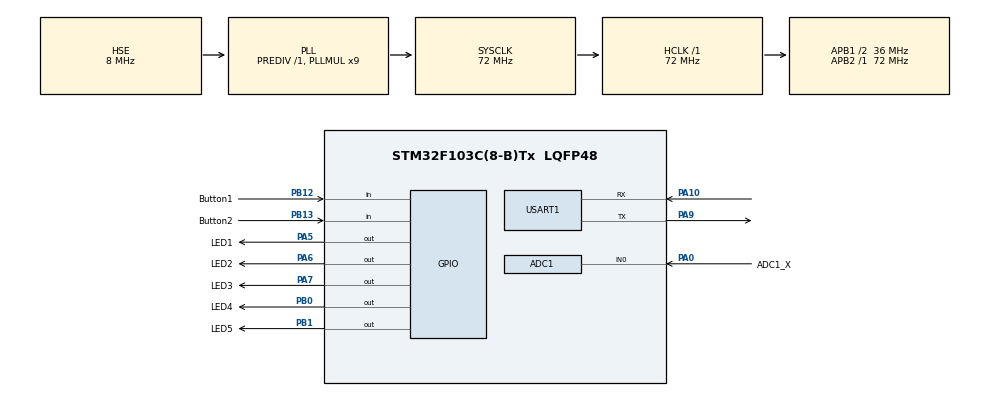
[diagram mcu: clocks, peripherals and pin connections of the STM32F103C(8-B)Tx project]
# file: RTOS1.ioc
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ADC1.Channel-0\#ChannelRegularConversion=ADC_CHANNEL_0
ADC1.NbrOfConversionFlag=1
ADC1.Rank-0\#ChannelRegularConversion=1
ADC1.SamplingTime-0\#ChannelRegularConversion=ADC_SAMPLETIME_1CYCLE_5
ADC1.master=1
FREERTOS.Tasks01=defaultTask,24,128,StartDefaultTask,Default,NULL,Dynamic,NULL,NULL;pickButtonTask,24,128,pickButton,Default,NULL,Dynamic,NULL,NULL;getADCTask,32,128,getADC,Default,NULL,Dynamic,NULL,NULL;dispUARTTask,24,128,dispUART,Default,NULL,Dynamic,NULL,NULL;LEDLevelTask,24,128,LEDLevel,Default,NULL,Dynamic,NULL,NULL
FREERTOS.configTOTAL_HEAP_SIZE=3600
FREERTOS.configUSE_NEWLIB_REENTRANT=1
Mcu.Family=STM32F1
Mcu.Name=STM32F103C(8-B)Tx
Mcu.Package=LQFP48
NVIC.PriorityGroup=NVIC_PRIORITYGROUP_4
NVIC.TIM4_IRQn=true\:15\:0\:false\:false\:true\:false\:false\:true\:true
NVIC.TimeBase=TIM4_IRQn
NVIC.TimeBaseIP=TIM4
PA0-WKUP.GPIO_Label=ADC1_X
PA0-WKUP.Signal=ADCx_IN0
PA10.Mode=Asynchronous
PA10.Signal=USART1_RX
PA13.Mode=Serial_Wire
PA13.Signal=SYS_JTMS-SWDIO
PA14.Mode=Serial_Wire
PA14.Signal=SYS_JTCK-SWCLK
PA5.GPIO_Label=LED1
PA5.PinState=GPIO_PIN_SET
PA5.Signal=GPIO_Output
PA6.GPIO_Label=LED2
PA6.PinState=GPIO_PIN_SET
PA6.Signal=GPIO_Output
PA7.GPIO_Label=LED3
PA7.PinState=GPIO_PIN_SET
PA7.Signal=GPIO_Output
PA9.Mode=Asynchronous
PA9.Signal=USART1_TX
PB0.GPIO_Label=LED4
PB0.PinState=GPIO_PIN_SET
PB0.Signal=GPIO_Output
PB1.GPIO_Label=LED5
PB1.PinState=GPIO_PIN_SET
PB1.Signal=GPIO_Output
PB12.GPIO_Label=Button1
PB12.GPIO_PuPd=GPIO_PULLUP
PB12.Signal=GPIO_Input
PB13.GPIO_Label=Button2
PB13.GPIO_PuPd=GPIO_PULLUP
PB13.Signal=GPIO_Input
PD0-OSC_IN.Mode=HSE-External-Oscillator
PD0-OSC_IN.Signal=RCC_OSC_IN
PD1-OSC_OUT.Mode=HSE-External-Oscillator
PD1-OSC_OUT.Signal=RCC_OSC_OUT
ProjectManager.HeapSize=0x200
ProjectManager.StackSize=0x400
ProjectManager.TargetToolchain=STM32CubeIDE
RCC.ADCPresc=RCC_ADCPCLK2_DIV6
RCC.AHBFreq_Value=72000000
RCC.APB1CLKDivider=RCC_HCLK_DIV2
RCC.APB1Freq_Value=36000000
RCC.APB1TimFreq_Value=72000000
RCC.APB2Freq_Value=72000000
RCC.APB2TimFreq_Value=72000000
RCC.HCLKFreq_Value=72000000
RCC.PLLMUL=RCC_PLL_MUL9
RCC.PLLSourceVirtual=RCC_PLLSOURCE_HSE
RCC.SYSCLKFreq_VALUE=72000000
RCC.SYSCLKSource=RCC_SYSCLKSOURCE_PLLCLK
RCC.USBFreq_Value=72000000
SH.ADCx_IN0.0=ADC1_IN0,IN0
USART1.VirtualMode=VM_ASYNC
VP_FREERTOS_VS_CMSIS_V2.Mode=CMSIS_V2
VP_SYS_VS_tim4.Mode=TIM4
board=custom

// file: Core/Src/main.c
/* USER CODE BEGIN Header */
/**
  ******************************************************************************
  * @file           : main.c
  * @brief          : Main program body
  ******************************************************************************
  * @attention
  *
  * Copyright (c) 2024 STMicroelectronics.
  * All rights reserved.
  *
  * This software is licensed under terms that can be found in the LICENSE file
  * in the root directory of this software component.
  * If no LICENSE file comes with this software, it is provided AS-IS.
  *
  ******************************************************************************
  */
/* USER CODE END Header */
#include "main.h"
#include "cmsis_os.h"

ADC_HandleTypeDef hadc1;

UART_HandleTypeDef huart1;

/* Definitions for defaultTask */
osThreadId_t defaultTaskHandle;
const osThreadAttr_t defaultTask_attributes = {
  .name = "defaultTask",
  .stack_size = 128 * 4,
  .priority = (osPriority_t) osPriorityNormal,
};
/* Definitions for pickButtonTask */
osThreadId_t pickButtonTaskHandle;
const osThreadAttr_t pickButtonTask_attributes = {
  .name = "pickButtonTask",
  .stack_size = 128 * 4,
  .priority = (osPriority_t) osPriorityNormal,
};
/* Definitions for getADCTask */
osThreadId_t getADCTaskHandle;
const osThreadAttr_t getADCTask_attributes = {
  .name = "getADCTask",
  .stack_size = 128 * 4,
  .priority = (osPriority_t) osPriorityAboveNormal,
};
/* Definitions for dispUARTTask */
osThreadId_t dispUARTTaskHandle;
const osThreadAttr_t dispUARTTask_attributes = {
  .name = "dispUARTTask",
  .stack_size = 128 * 4,
  .priority = (osPriority_t) osPriorityNormal,
};
/* Definitions for LEDLevelTask */
osThreadId_t LEDLevelTaskHandle;
const osThreadAttr_t LEDLevelTask_attributes = {
  .name = "LEDLevelTask",
  .stack_size = 128 * 4,
  .priority = (osPriority_t) osPriorityNormal,
};
/* USER CODE BEGIN PV */
uint8_t choice;
int button1_pressed, button2_pressed, x_val;
/* USER CODE END PV */

void SystemClock_Config(void);
static void MX_GPIO_Init(void);
static void MX_ADC1_Init(void);
static void MX_USART1_UART_Init(void);
void StartDefaultTask(void *argument);
void pickButton(void *argument);
void getADC(void *argument);
void dispUART(void *argument);
void LEDLevel(void *argument);

/* USER CODE BEGIN 0 */
void Light_LED(){
	if(x_val < 4096/6){
		HAL_GPIO_WritePin(LED1_GPIO_Port, LED1_Pin, 1);
		HAL_GPIO_WritePin(LED2_GPIO_Port, LED2_Pin, 1);
		HAL_GPIO_WritePin(LED3_GPIO_Port, LED3_Pin, 1);
		HAL_GPIO_WritePin(LED4_GPIO_Port, LED4_Pin, 1);
		HAL_GPIO_WritePin(LED5_GPIO_Port, LED5_Pin, 1);
	} else if(x_val < 4096*2/6){
		HAL_GPIO_WritePin(LED1_GPIO_Port, LED1_Pin, 1);
		HAL_GPIO_WritePin(LED2_GPIO_Port, LED2_Pin, 1);
		HAL_GPIO_WritePin(LED3_GPIO_Port, LED3_Pin, 1);
		HAL_GPIO_WritePin(LED4_GPIO_Port, LED4_Pin, 1);
		HAL_GPIO_WritePin(LED5_GPIO_Port, LED5_Pin, 0);
	} else if(x_val < 4096*3/6){
		HAL_GPIO_WritePin(LED1_GPIO_Port, LED1_Pin, 1);
		HAL_GPIO_WritePin(LED2_GPIO_Port, LED2_Pin, 1);
		HAL_GPIO_WritePin(LED3_GPIO_Port, LED3_Pin, 1);
		HAL_GPIO_WritePin(LED4_GPIO_Port, LED4_Pin, 0);
		HAL_GPIO_WritePin(LED5_GPIO_Port, LED5_Pin, 0);
	} else if(x_val < 4096*4/6){
		HAL_GPIO_WritePin(LED1_GPIO_Port, LED1_Pin, 1);
		HAL_GPIO_WritePin(LED2_GPIO_Port, LED2_Pin, 1);
		HAL_GPIO_WritePin(LED3_GPIO_Port, LED3_Pin, 0);
		HAL_GPIO_WritePin(LED4_GPIO_Port, LED4_Pin, 0);
		HAL_GPIO_WritePin(LED5_GPIO_Port, LED5_Pin, 0);
	} else if(x_val < 4096*5/6){
		HAL_GPIO_WritePin(LED1_GPIO_Port, LED1_Pin, 1);
		HAL_GPIO_WritePin(LED2_GPIO_Port, LED2_Pin, 0);
		HAL_GPIO_WritePin(LED3_GPIO_Port, LED3_Pin, 0);
		HAL_GPIO_WritePin(LED4_GPIO_Port, LED4_Pin, 0);
		HAL_GPIO_WritePin(LED5_GPIO_Port, LED5_Pin, 0);
	} else {
		HAL_GPIO_WritePin(LED1_GPIO_Port, LED1_Pin, 0);
		HAL_GPIO_WritePin(LED2_GPIO_Port, LED2_Pin, 0);
		HAL_GPIO_WritePin(LED3_GPIO_Port, LED3_Pin, 0);
		HAL_GPIO_WritePin(LED4_GPIO_Port, LED4_Pin, 0);
		HAL_GPIO_WritePin(LED5_GPIO_Port, LED5_Pin, 0);
	}
}

void Tf_LED(){
	HAL_GPIO_WritePin(LED1_GPIO_Port, LED1_Pin, 1);
	HAL_GPIO_WritePin(LED2_GPIO_Port, LED2_Pin, 1);
	HAL_GPIO_WritePin(LED3_GPIO_Port, LED3_Pin, 1);
	HAL_GPIO_WritePin(LED4_GPIO_Port, LED4_Pin, 1);
	HAL_GPIO_WritePin(LED5_GPIO_Port, LED5_Pin, 1);
}

void Menu_Display(){
	char buffer[20] = " ";
	sprintf(buffer, "Voltage = %\d\r\n", x_val);
	HAL_UART_Transmit(&huart1, buffer, sizeof(buffer), 20);
}
/* USER CODE END 0 */

int main(void)
{

  /* MCU Configuration--------------------------------------------------------*/

  /* Reset of all peripherals, Initializes the Flash interface and the Systick. */
  HAL_Init();

  /* Configure the system clock */
  SystemClock_Config();

  /* Initialize all configured peripherals */
  MX_GPIO_Init();
  MX_ADC1_Init();
  MX_USART1_UART_Init();

  /* Init scheduler */
  osKernelInitialize();

  /* Create the thread(s) */
  /* creation of defaultTask */
  defaultTaskHandle = osThreadNew(StartDefaultTask, NULL, &defaultTask_attributes);

  /* creation of pickButtonTask */
  pickButtonTaskHandle = osThreadNew(pickButton, NULL, &pickButtonTask_attributes);

  /* creation of getADCTask */
  getADCTaskHandle = osThreadNew(getADC, NULL, &getADCTask_attributes);

  /* creation of dispUARTTask */
  dispUARTTaskHandle = osThreadNew(dispUART, NULL, &dispUARTTask_attributes);

  /* creation of LEDLevelTask */
  LEDLevelTaskHandle = osThreadNew(LEDLevel, NULL, &LEDLevelTask_attributes);

  /* Start scheduler */
  osKernelStart();

  /* We should never get here as control is now taken by the scheduler */

  /* Infinite loop */
  while (1)
  {

  }
}

void SystemClock_Config(void)
{
  RCC_OscInitTypeDef RCC_OscInitStruct = {0};
  RCC_ClkInitTypeDef RCC_ClkInitStruct = {0};
  RCC_PeriphCLKInitTypeDef PeriphClkInit = {0};

  /** Initializes the RCC Oscillators according to the specified parameters
  * in the RCC_OscInitTypeDef structure.
  */
  RCC_OscInitStruct.OscillatorType = RCC_OSCILLATORTYPE_HSE;
  RCC_OscInitStruct.HSEState = RCC_HSE_ON;
  RCC_OscInitStruct.HSEPredivValue = RCC_HSE_PREDIV_DIV1;
  RCC_OscInitStruct.HSIState = RCC_HSI_ON;
  RCC_OscInitStruct.PLL.PLLState = RCC_PLL_ON;
  RCC_OscInitStruct.PLL.PLLSource = RCC_PLLSOURCE_HSE;
  RCC_OscInitStruct.PLL.PLLMUL = RCC_PLL_MUL9;
  if (HAL_RCC_OscConfig(&RCC_OscInitStruct) != HAL_OK)
  {
    Error_Handler();
  }

  /** Initializes the CPU, AHB and APB buses clocks
  */
  RCC_ClkInitStruct.ClockType = RCC_CLOCKTYPE_HCLK|RCC_CLOCKTYPE_SYSCLK
                              |RCC_CLOCKTYPE_PCLK1|RCC_CLOCKTYPE_PCLK2;
  RCC_ClkInitStruct.SYSCLKSource = RCC_SYSCLKSOURCE_PLLCLK;
  RCC_ClkInitStruct.AHBCLKDivider = RCC_SYSCLK_DIV1;
  RCC_ClkInitStruct.APB1CLKDivider = RCC_HCLK_DIV2;
  RCC_ClkInitStruct.APB2CLKDivider = RCC_HCLK_DIV1;

  if (HAL_RCC_ClockConfig(&RCC_ClkInitStruct, FLASH_LATENCY_2) != HAL_OK)
  {
    Error_Handler();
  }
  PeriphClkInit.PeriphClockSelection = RCC_PERIPHCLK_ADC;
  PeriphClkInit.AdcClockSelection = RCC_ADCPCLK2_DIV6;
  if (HAL_RCCEx_PeriphCLKConfig(&PeriphClkInit) != HAL_OK)
  {
    Error_Handler();
  }
}

static void MX_ADC1_Init(void)
{

  ADC_ChannelConfTypeDef sConfig = {0};

  /** Common config
  */
  hadc1.Instance = ADC1;
  hadc1.Init.ScanConvMode = ADC_SCAN_DISABLE;
  hadc1.Init.ContinuousConvMode = DISABLE;
  hadc1.Init.DiscontinuousConvMode = DISABLE;
  hadc1.Init.ExternalTrigConv = ADC_SOFTWARE_START;
  hadc1.Init.DataAlign = ADC_DATAALIGN_RIGHT;
  hadc1.Init.NbrOfConversion = 1;
  if (HAL_ADC_Init(&hadc1) != HAL_OK)
  {
    Error_Handler();
  }

  /** Configure Regular Channel
  */
  sConfig.Channel = ADC_CHANNEL_0;
  sConfig.Rank = ADC_REGULAR_RANK_1;
  sConfig.SamplingTime = ADC_SAMPLETIME_1CYCLE_5;
  if (HAL_ADC_ConfigChannel(&hadc1, &sConfig) != HAL_OK)
  {
    Error_Handler();
  }

}

static void MX_USART1_UART_Init(void)
{

  huart1.Instance = USART1;
  huart1.Init.BaudRate = 115200;
  huart1.Init.WordLength = UART_WORDLENGTH_8B;
  huart1.Init.StopBits = UART_STOPBITS_1;
  huart1.Init.Parity = UART_PARITY_NONE;
  huart1.Init.Mode = UART_MODE_TX_RX;
  huart1.Init.HwFlowCtl = UART_HWCONTROL_NONE;
  huart1.Init.OverSampling = UART_OVERSAMPLING_16;
  if (HAL_UART_Init(&huart1) != HAL_OK)
  {
    Error_Handler();
  }

}

static void MX_GPIO_Init(void)
{
  GPIO_InitTypeDef GPIO_InitStruct = {0};

  /* GPIO Ports Clock Enable */
  __HAL_RCC_GPIOD_CLK_ENABLE();
  __HAL_RCC_GPIOA_CLK_ENABLE();
  __HAL_RCC_GPIOB_CLK_ENABLE();

  /*Configure GPIO pin Output Level */
  HAL_GPIO_WritePin(GPIOA, LED1_Pin|LED2_Pin|LED3_Pin, GPIO_PIN_SET);

  /*Configure GPIO pin Output Level */
  HAL_GPIO_WritePin(GPIOB, LED4_Pin|LED5_Pin, GPIO_PIN_SET);

  /*Configure GPIO pins : LED1_Pin LED2_Pin LED3_Pin */
  GPIO_InitStruct.Pin = LED1_Pin|LED2_Pin|LED3_Pin;
  GPIO_InitStruct.Mode = GPIO_MODE_OUTPUT_PP;
  GPIO_InitStruct.Pull = GPIO_NOPULL;
  GPIO_InitStruct.Speed = GPIO_SPEED_FREQ_LOW;
  HAL_GPIO_Init(GPIOA, &GPIO_InitStruct);

  /*Configure GPIO pins : LED4_Pin LED5_Pin */
  GPIO_InitStruct.Pin = LED4_Pin|LED5_Pin;
  GPIO_InitStruct.Mode = GPIO_MODE_OUTPUT_PP;
  GPIO_InitStruct.Pull = GPIO_NOPULL;
  GPIO_InitStruct.Speed = GPIO_SPEED_FREQ_LOW;
  HAL_GPIO_Init(GPIOB, &GPIO_InitStruct);

  /*Configure GPIO pins : Button1_Pin Button2_Pin */
  GPIO_InitStruct.Pin = Button1_Pin|Button2_Pin;
  GPIO_InitStruct.Mode = GPIO_MODE_INPUT;
  GPIO_InitStruct.Pull = GPIO_PULLUP;
  HAL_GPIO_Init(GPIOB, &GPIO_InitStruct);

}

void StartDefaultTask(void *argument)
{
  for(;;)
  {
    osDelay(1);
  }
}

void pickButton(void *argument)
{
  /* USER CODE BEGIN pickButton */
  /* Infinite loop */
  for(;;)
  {
	  if(HAL_GPIO_ReadPin(Button1_GPIO_Port, Button1_Pin)== GPIO_PIN_RESET)
	  {
		  osDelay(300);
		  button1_pressed = 1;
	  } else {
		  button1_pressed = 0;
	  }
	  if(HAL_GPIO_ReadPin(Button2_GPIO_Port, Button2_Pin)==GPIO_PIN_RESET)
	  {
		  osDelay(300);
		  button2_pressed = 1;
	  } else {
		  button2_pressed = 0;
	  }
	  osDelay(100);
  }
  /* USER CODE END pickButton */
}

void getADC(void *argument)
{
  /* USER CODE BEGIN getADC */
  /* Infinite loop */
  for(;;)
  {
	  HAL_ADC_Start(&hadc1);
	  HAL_ADC_PollForConversion(&hadc1, 10);
	  x_val = (HAL_ADC_GetValue(&hadc1));
	  HAL_ADC_Stop(&hadc1);
	  osDelay(100);
  }
  /* USER CODE END getADC */
}

void dispUART(void *argument)
{
  /* USER CODE BEGIN dispUART */
  /* Infinite loop */
	Menu_Display();
	char buffer2[20] = "_";
	for(;;)
  {
	  if(HAL_UART_Receive(&huart1, &choice, sizeof(choice), 10)== HAL_OK)
	  {
		  switch (choice){
		  case '1':
			  sprintf(buffer2, "Voltage = %d\r\n", x_val);
			  HAL_UART_Transmit(&huart1, buffer2, sizeof(buffer2), 20);
			  break;
		  case '2':
			  HAL_UART_Transmit(&huart1, (uint8_t*)	"HELLO WORLD\r\n", sizeof("HELLO WORLD\r\n")-1, 10);
			  Menu_Display();
			  break;
		  default:
			  break;;
		  }
	  } else {

	  }
	  if(button1_pressed)
	  {
		  HAL_UART_Transmit(&huart1, (uint8_t*)"Button1 Pressed\r\n", sizeof("Button1 Pressed\r\n"), 10);
		  button1_pressed = 0;
	  }
	  if(button2_pressed)
	  {
		  HAL_UART_Transmit(&huart1, (uint8_t*)"Button2 Pressed\r\n", sizeof("Button2 Pressed\r\n"), 10);
		  button2_pressed = 0;
	  }
	  osDelay(100);
  }
  /* USER CODE END dispUART */
}

void LEDLevel(void *argument)
{
  /* USER CODE BEGIN LEDLevel */
  /* Infinite loop */
  while(1)
  {
	  if(button1_pressed==1){
		  Light_LED();
		  osDelay(100);
		  Tf_LED();
		  osDelay(100);
	  }
	  else Light_LED();
  }
//	for(;;)
//  {
//    osDelay(1);
//  }
  /* USER CODE END LEDLevel */
}

void HAL_TIM_PeriodElapsedCallback(TIM_HandleTypeDef *htim)
{
  if (htim->Instance == TIM4) {
    HAL_IncTick();
  }
}

void Error_Handler(void)
{
  __disable_irq();
  while (1)
  {
  }
}
